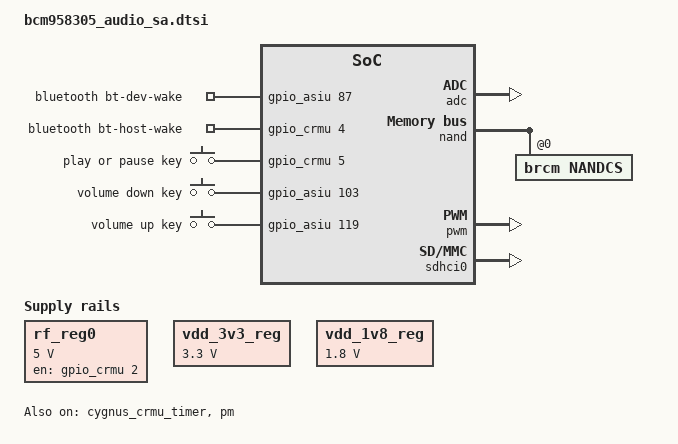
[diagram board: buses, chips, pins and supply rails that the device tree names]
/*
 *  BSD LICENSE
 *
 *  Copyright(c) 2017 Broadcom.  All rights reserved.
 *
 *  Redistribution and use in source and binary forms, with or without
 *  modification, are permitted provided that the following conditions
 *  are met:
 *
 *    * Redistributions of source code must retain the above copyright
 *      notice, this list of conditions and the following disclaimer.
 *    * Redistributions in binary form must reproduce the above copyright
 *      notice, this list of conditions and the following disclaimer in
 *      the documentation and/or other materials provided with the
 *      distribution.
 *    * Neither the name of Broadcom Corporation nor the names of its
 *      contributors may be used to endorse or promote products derived
 *      from this software without specific prior written permission.
 *
 *  THIS SOFTWARE IS PROVIDED BY THE COPYRIGHT HOLDERS AND CONTRIBUTORS
 *  "AS IS" AND ANY EXPRESS OR IMPLIED WARRANTIES, INCLUDING, BUT NOT
 *  LIMITED TO, THE IMPLIED WARRANTIES OF MERCHANTABILITY AND FITNESS FOR
 *  A PARTICULAR PURPOSE ARE DISCLAIMED. IN NO EVENT SHALL THE COPYRIGHT
 *  OWNER OR CONTRIBUTORS BE LIABLE FOR ANY DIRECT, INDIRECT, INCIDENTAL,
 *  SPECIAL, EXEMPLARY, OR CONSEQUENTIAL DAMAGES (INCLUDING, BUT NOT
 *  LIMITED TO, PROCUREMENT OF SUBSTITUTE GOODS OR SERVICES; LOSS OF USE,
 *  DATA, OR PROFITS; OR BUSINESS INTERRUPTION) HOWEVER CAUSED AND ON ANY
 *  THEORY OF LIABILITY, WHETHER IN CONTRACT, STRICT LIABILITY, OR TORT
 *  (INCLUDING NEGLIGENCE OR OTHERWISE) ARISING IN ANY WAY OUT OF THE USE
 * OF THIS SOFTWARE, EVEN IF ADVISED OF THE POSSIBILITY OF SUCH DAMAGE.
 */

#include "bcm-cygnus.dtsi"
#include "dt-bindings/input/input.h"

/ {
	aliases {
		serial0 = &uart3;
		serial1 = &uart1;
		serial2 = &uart0;
	};

	chosen {
		stdout-path = "serial0:115200n8";
	};

	bluetooth {
		compatible = "brcm,bt-rfkill";
		brcm,rfkill-regulator = <&rf_reg0>;
		bt-dev-wake-gpio = <&gpio_asiu 87 0>;
		bt-host-wake-gpio = <&gpio_crmu 4 0>;
	};

	gpio_keys {
		compatible = "gpio-keys";
		#address-cells = <1>;
		#size-cells = <0>;

		play {
			label = "play or pause key";
			linux,code = <KEY_PLAYPAUSE>;
			gpios = <&gpio_crmu 5 0>;
			wakeup-source;
		};

		down {
			label = "volume down key";
			linux,code = <KEY_VOLUMEDOWN>;
			gpios = <&gpio_asiu 103 0>;
		};

		up {
			label = "volume up key";
			linux,code = <KEY_VOLUMEUP>;
			gpios = <&gpio_asiu 119 0>;
		};
	};

	rf_reg0: regulator@0 {
		compatible = "regulator-fixed";
		regulator-name = "bt-rf-reg0";
		regulator-min-microvolt = <5000000>;
		regulator-max-microvolt = <5000000>;
		gpio = <&gpio_crmu 2 0>;
		enable-active-high;
	};

	vdd_3v3_reg: regulator@1 {
		compatible = "regulator-fixed";
		regulator-name = "vdd-3v3-reg";
		regulator-min-microvolt = <3300000>;
		regulator-max-microvolt = <3300000>;
		regulator-always-on;
	};

	vdd_1v8_reg: regulator@2 {
		compatible = "regulator-fixed";
		regulator-name = "vdd-1v8-reg";
		regulator-min-microvolt = <1800000>;
		regulator-max-microvolt = <1800000>;
		regulator-always-on;
	};
};

&adc {
	status = "okay";
};

&cygnus_crmu_timer {
	status = "okay";
};

&gpio_asiu {
	pinctrl-names = "default";
	pinctrl-0 = <&key_grps>;

	key_grps: key_grps {
		keys {
			pins = "gpio-103", "gpio-119";
			bias-pull-up;
		};
	};
};

&nand {
	nandcs@0 {
		compatible = "brcm,nandcs";
		reg = <0>;
		nand-on-flash-bbt;

		#address-cells = <1>;
		#size-cells = <1>;

		nand-ecc-strength = <8>;
		nand-ecc-step-size = <512>;

		brcm,nand-oob-sector-size = <16>;
	};
};

&pm {
	status = "okay";
	aon_regulators {
		vdd_regulator {
			gpio = <&gpio_crmu 0 0>;
			enable-active-high;
			startup-delay-us = <1000>;
			regulator-state-mem {
				regulator-off-in-suspend;
			};
			regulator-state-off {
				regulator-off-in-suspend;
			};
		};
		rf_regulator0 {
			gpio = <&gpio_crmu 1 0>;
			enable-active-high;
			regulator-state-off {
				regulator-off-in-suspend;
			};
		};
		rf_regulator1 {
			gpio = <&gpio_crmu 2 0>;
			enable-active-high;
			regulator-state-off {
				regulator-off-in-suspend;
			};
		};
	};
};

&pwm {
	status = "okay";
};

&sdhci0 {
	keep-power-in-suspend;
	status = "okay";
};
